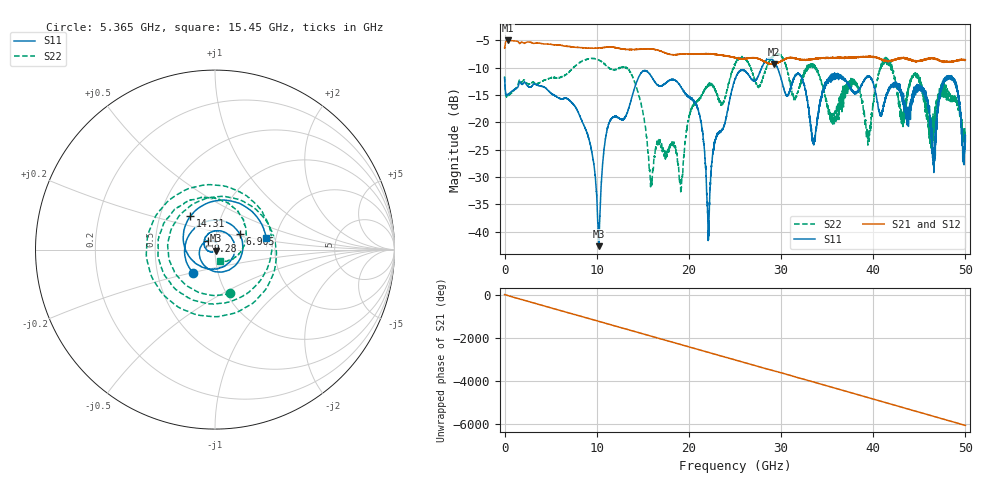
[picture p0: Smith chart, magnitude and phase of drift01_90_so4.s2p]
!Created with skrf (http://scikit-rf.org).
# Hz S RI R 50.0
!freq ReS11 ImS11 ReS21 ImS21 ReS12 ImS12 ReS22 ImS22
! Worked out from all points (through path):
!   10001 points, 300 kHz to 50 GHz, reference 50 ohm
!   highest |S21| = -5.05 dB at 325.3 MHz (marker M1); lowest = -9.4 dB at 29.19 GHz (marker M2)
!   group delay of S21, straight-line fit = 336 ps
!   lowest |S11| = -42.7 dB at 10.22 GHz (marker M3), VSWR 1.01, Z = 50.5 - j0.562 ohm
!   |S11| at or under -10 dB: start of sweep to 27.91 GHz; 29.6 GHz to end of sweep
!   |S22| runs from -32.9 to -7.4 dB; largest |S21 - S12| = 0.014
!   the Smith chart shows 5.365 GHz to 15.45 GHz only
!   S11 on the Smith chart (normalised r, x): 5.365 GHz: 0.76, -0.20; 6.905 GHz: 1.30, +0.23; 9.28 GHz: 0.92, +0.09; 14.31 GHz: 0.71, +0.28; 15.45 GHz: 1.78, +0.24
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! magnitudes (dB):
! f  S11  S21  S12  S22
! 300 kHz  -11.9  -6.4  -6.5  -11.6
! 325.3 MHz  -15.0  -5.1  -5.1  -15.3
! 5.365 GHz  -15.0  -5.9  -5.9  -11.8
! 6.905 GHz  -15.8  -6.1  -6.1  -11.0
! 8.335 GHz  -19.5  -6.4  -6.4  -8.9
! 9.28 GHz  -23.9  -6.4  -6.5  -8.3
! 10.22 GHz  -42.7  -6.4  -6.4  -8.6
! 11.23 GHz  -20.7  -6.3  -6.3  -10.0
! 14.31 GHz  -12.7  -6.7  -6.7  -13.6
! 15.45 GHz  -10.7  -6.6  -6.6  -23.0
! 16.67 GHz  -13.3  -6.9  -6.9  -23.4
! 19.14 GHz  -13.5  -7.6  -7.6  -32.8
! 20.85 GHz  -16.9  -7.6  -7.6  -16.1
! 22.12 GHz  -41.5  -7.5  -7.5  -13.4
! 25 GHz  -12.1  -8.2  -8.3  -9.5
! 29.19 GHz  -8.8  -9.4  -9.4  -7.9
! 33.34 GHz  -22.7  -8.5  -8.5  -9.5
! 39.47 GHz  -11.6  -8.1  -8.0  -22.4
! 41.67 GHz  -13.8  -8.8  -8.7  -8.9
! 46.56 GHz  -27.1  -8.3  -8.3  -20.1
! 48.55 GHz  -11.7  -8.9  -8.9  -15.4
! 50 GHz  -23.6  -8.6  -8.7  -22.8
